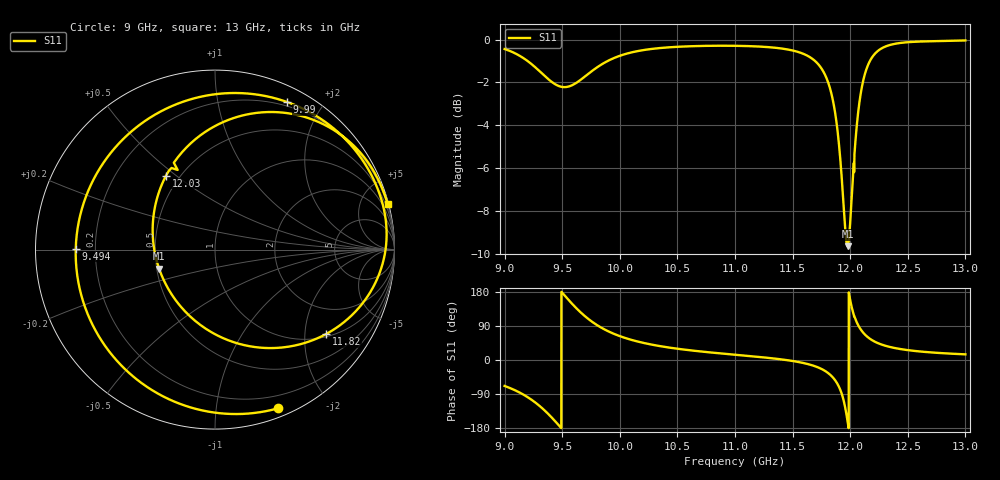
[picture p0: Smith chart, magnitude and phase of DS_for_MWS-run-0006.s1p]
! TOUCHSTONE file generated by CST DESIGN STUDIO
! Date and time: Tue Feb  4 14:19:24 2025
! Project name: C:\Work\MatlabApps\UnitCellOptimizationMatlab\CST\unitcell.cst
! Tree item: Tasks\Sweep1\SPara1\S-Parameters
! Header version: 2024
! Port assignment regex: !\s*Touchstone port\s*([0-9]+)\s*=\s*(CST MWS port|CST DES external port|CST DES block port)\s*(.+)\s* \(\"(.*)\"\)(\s*mode\s*([0-9]+))?.*
! Touchstone port assignment:
! Touchstone port 1 = CST DES external port 1 ("")
# GHz S MA R 50
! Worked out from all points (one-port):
!   4001 points, 9 GHz to 13 GHz, reference 50 ohm
!   lowest |S11| = -9.7 dB at 11.98 GHz (marker M1), VSWR 1.98, Z = 25.8 - j6.13 ohm
!   |S11| at or under -10 dB: nowhere
!   S11 on the Smith chart (normalised r, x): 9 GHz: 0.08, -1.47; 9.494 GHz: 0.13, +0.00; 9.99 GHz: 0.16, +1.59; 11.82 GHz: 1.08, -2.57; 12.03 GHz: 0.42, +0.46; 13 GHz: 0.12, +7.65
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9  0.951 -68.5
9.155  0.9086 -89.9
9.27  0.8602 -113.0
9.399  0.8005 -148.6
9.494  0.7758 179.6
9.5  0.7753 177.5
9.617  0.791 138.4
9.718  0.8286 110.4
9.833  0.8724 86.4
9.99  0.9149 64.1
10  0.9169 63.0
10.214  0.9464 44.5
10.5  0.9624 29.7
11  0.9676 13.9
11.5  0.9435 -2.6
11.702  0.8881 -17.3
11.82  0.7773 -37.3
11.912  0.5336 -77.2
11.944  0.4047 -107.9
11.977  0.329 -161.2
12  0.3737 158.0
12.027  0.4941 123.5
12.06  0.6412 97.4
12.096  0.7611 78.7
12.208  0.923 49.2
12.324  0.968 36.0
12.5  0.9866 26.1
13  0.9959 14.9
